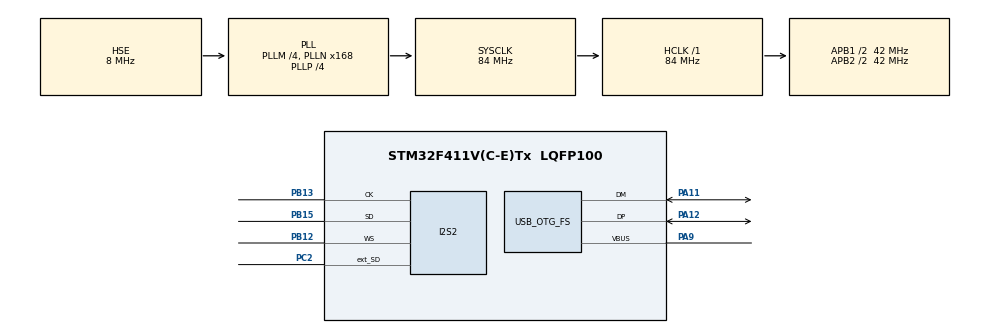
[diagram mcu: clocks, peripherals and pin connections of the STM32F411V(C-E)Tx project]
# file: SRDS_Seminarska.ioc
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Dma.Request0=SPI2_RX
Dma.SPI2_RX.0.Direction=DMA_PERIPH_TO_MEMORY
Dma.SPI2_RX.0.FIFOMode=DMA_FIFOMODE_DISABLE
Dma.SPI2_RX.0.Instance=DMA1_Stream3
Dma.SPI2_RX.0.MemDataAlignment=DMA_MDATAALIGN_HALFWORD
Dma.SPI2_RX.0.MemInc=DMA_MINC_ENABLE
Dma.SPI2_RX.0.Mode=DMA_CIRCULAR
Dma.SPI2_RX.0.PeriphDataAlignment=DMA_PDATAALIGN_HALFWORD
Dma.SPI2_RX.0.PeriphInc=DMA_PINC_DISABLE
Dma.SPI2_RX.0.Priority=DMA_PRIORITY_LOW
I2S2.AudioFreq=I2S_AUDIOFREQ_16K
I2S2.ErrorAudioFreq=0.0 %
I2S2.FullDuplexMode=I2S_FULLDUPLEXMODE_ENABLE
I2S2.Instance=SPI$Index
I2S2.Mode=I2S_MODE_MASTER_RX
I2S2.RealAudioFreq=16.0 KHz
I2S2.Standard=I2S_STANDARD_MSB
I2S2.VirtualMode=I2S_MODE_MASTER
Mcu.Family=STM32F4
Mcu.Name=STM32F411V(C-E)Tx
Mcu.Package=LQFP100
NVIC.DMA1_Stream3_IRQn=true\:0\:0\:false\:false\:true\:false\:true
NVIC.OTG_FS_IRQn=true\:0\:0\:false\:false\:true\:false\:true
NVIC.PriorityGroup=NVIC_PRIORITYGROUP_0
PA10.Signal=USB_OTG_FS_ID
PA11.Mode=Device_Only
PA11.Signal=USB_OTG_FS_DM
PA12.Mode=Device_Only
PA12.Signal=USB_OTG_FS_DP
PA13.Mode=Serial_Wire
PA13.Signal=SYS_JTMS-SWDIO
PA14.Mode=Serial_Wire
PA14.Signal=SYS_JTCK-SWCLK
PA9.Mode=Activate_VBUS
PA9.Signal=USB_OTG_FS_VBUS
PB12.Mode=Full_Duplex_Master
PB12.Signal=I2S2_WS
PB13.Mode=Full_Duplex_Master
PB13.Signal=I2S2_CK
PB15.Mode=Full_Duplex_Master
PB15.Signal=I2S2_SD
PC2.Mode=Full_Duplex_Master
PC2.Signal=I2S2_ext_SD
PDM2PCM.CHANNEL1_bit_order=PDM_FILTER_BIT_ORDER_MSB
PDM2PCM.CHANNEL1_in_ptr_channels=1
PDM2PCM.CHANNEL1_mic_gain=1
PDM2PCM.CHANNEL1_out_ptr_channels=1
PH0\ -\ OSC_IN.Mode=HSE-External-Oscillator
PH0\ -\ OSC_IN.Signal=RCC_OSC_IN
PH1\ -\ OSC_OUT.Mode=HSE-External-Oscillator
PH1\ -\ OSC_OUT.Signal=RCC_OSC_OUT
ProjectManager.HeapSize=0x200
ProjectManager.StackSize=0x400
ProjectManager.TargetToolchain=STM32CubeIDE
RCC.48MHZClocksFreq_Value=48000000
RCC.AHBFreq_Value=84000000
RCC.APB1CLKDivider=RCC_HCLK_DIV2
RCC.APB1Freq_Value=42000000
RCC.APB1TimFreq_Value=84000000
RCC.APB2CLKDivider=RCC_HCLK_DIV2
RCC.APB2Freq_Value=42000000
RCC.APB2TimFreq_Value=84000000
RCC.CortexFreq_Value=84000000
RCC.HCLKFreq_Value=84000000
RCC.HSE_VALUE=8000000
RCC.HSI_VALUE=16000000
RCC.LSE_VALUE=32768
RCC.PLLI2SM=5
RCC.PLLI2SR=5
RCC.PLLM=4
RCC.PLLN=168
RCC.PLLP=RCC_PLLP_DIV4
RCC.PLLQ=7
RCC.SYSCLKFreq_VALUE=84000000
RCC.SYSCLKSource=RCC_SYSCLKSOURCE_PLLCLK
RCC.VCOOutputFreq_Value=336000000
USB_DEVICE.CLASS_NAME_FS=CDC
USB_DEVICE.PRODUCT_STRING_CDC_FS=ProsimDelaj
USB_DEVICE.VirtualMode=Cdc
USB_DEVICE.VirtualModeFS=Cdc_FS
USB_OTG_FS.VirtualMode=Device_Only
VP_CRC_VS_CRC.Mode=CRC_Activate
VP_PDM2PCM_VS_PDM2PCM.Mode=PDM2PCM_Channel
VP_USB_DEVICE_VS_USB_DEVICE_CDC_FS.Mode=CDC_FS
board=STM32F411E-DISCO

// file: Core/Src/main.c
/* USER CODE BEGIN Header */
/**
  ******************************************************************************
  * @file           : main.c
  * @brief          : Main program body
  ******************************************************************************
  * @attention
  *
  * <h2><center>&copy; Copyright (c) 2021 STMicroelectronics.
  * All rights reserved.</center></h2>
  *
  * This software component is licensed by ST under BSD 3-Clause license,
  * the "License"; You may not use this file except in compliance with the
  * License. You may obtain a copy of the License at:
  *                        opensource.org/licenses/BSD-3-Clause
  *
  ******************************************************************************
  */
/* USER CODE END Header */
#include "main.h"
#include "pdm2pcm.h"
#include "usb_device.h"

/* USER CODE BEGIN Includes */
#include "usbd_cdc_if.h"
#include <math.h>
/* USER CODE END Includes */

/* USER CODE BEGIN PD */
#define PDM_BUFFER_SIZE 100
#define PCM_BUFFER_SIZE 16
#define M_PI   3.14159265358979323846 /* pi */
/* USER CODE END PD */

CRC_HandleTypeDef hcrc;

I2S_HandleTypeDef hi2s2;
DMA_HandleTypeDef hdma_spi2_rx;

void SystemClock_Config(void);
static void MX_GPIO_Init(void);
static void MX_DMA_Init(void);
static void MX_I2S2_Init(void);
static void MX_CRC_Init(void);
/* USER CODE BEGIN PFP */

float absFloat(float floa) {
	return floa < 0 ? -floa : floa;
}
/* USER CODE END PFP */

/* USER CODE BEGIN 0 */
/* USER CODE BEGIN PFP */

/* USER CODE END PFP */

/* Private user code ---------------------------------------------------------*/
/* USER CODE BEGIN 0 */

/* USER CODE END 0 */

int main(void)
{

  /* MCU Configuration--------------------------------------------------------*/

  /* Reset of all peripherals, Initializes the Flash interface and the Systick. */
  HAL_Init();

  /* USER CODE BEGIN Init */
  uint16_t sound_in[1600];
int binary[1600],temp[1600];
int buf[1600];
int vol = 0,sum = 0;
char buffer[100];
  /* USER CODE END Init */

  /* Configure the system clock */
  SystemClock_Config();

  /* Initialize all configured peripherals */
  MX_GPIO_Init();
  MX_DMA_Init();
  MX_I2S2_Init();
  MX_CRC_Init();
  MX_PDM2PCM_Init();
  MX_USB_DEVICE_Init();
  /* USER CODE BEGIN 2 */
  __HAL_RCC_CRC_CLK_ENABLE();
  //teoreticno 16 PDM -> 1 PCM 16* 16 ali 32 odvisno od filtra
  uint16_t PDM_Signal[PDM_BUFFER_SIZE];
  //16 je povezana z številko saamples pri pdm2pcm
  uint16_t PCM_Signal[PCM_BUFFER_SIZE];

  uint8_t json[200];
  int stevec = 0;
  //HAL_I2S_Receive_DMA(&hi2s2, &PDM_Signal, PDM_BUFFER_SIZE);
  /* USER CODE END 2 */

  /* Infinite loop */
	while (1)
	{

    /* USER CODE BEGIN 3 */

		  int vol=0;
		  	  HAL_I2S_Receive(&hi2s2,sound_in, 50, 1000);

		  	  for (int i = 0; i < 50; i++) {
		  		for (int j = 0; j < 16; j++) {
		  			binary[j] = sound_in[i] % 2;
		  			sound_in[i] = sound_in[i]/2;
		  		}

		  		//reverse
		  		for (int j = 0; j < 16; j++) {
		  			temp[i * 16 + j] = binary[15 - j];
		  		}
		  	  }
		  	  int i =7;
		  	  while(i + 8 < 50*16){
		  	     int sum = 0;
		  	     for (int j = -7; j <= 8; j++)
		  	      sum += temp[i + j];
		  	     if(sum - 8 < 0)  buf[i]=-(sum-8);
		  	     buf[i] = sum-8;
		  	     i++;
		  	  }

		  	for (int i = 14; i + 16 < 50*16; i++) {
		  		for (int j = -7; j <= 8; j++)
		  			vol += buf[i + j];
		}

		//int nac = sprintf(buffer,"vol: \r\n",vol);
		//HAL_Delay(500);
		//Size = dolizni PDM_Signala
		//HAL_I2S_Receive(&hi2s2, PDM_Signal, PDM_BUFFER_SIZE, 10);

		//PDM_Filter(&PDM_Signal[0], &PCM_Signal[0], &PDM1_filter_handler);

		//memset(json, 0, sizeof(json));

		/*sprintf(json, "%d %d %d %d %d %d %d %d %d %d %d %d %d %d %d %d\n\r", PCM_Signal[0], PCM_Signal[1],PCM_Signal[2],
				PCM_Signal[3], PCM_Signal[4], PCM_Signal[5],
				PCM_Signal[6], PCM_Signal[7], PCM_Signal[8],
				PCM_Signal[9], PCM_Signal[10], PCM_Signal[11],
				PCM_Signal[12], PCM_Signal[13], PCM_Signal[14],  PCM_Signal[15]);
*/
		//while(CDC_Transmit_FS((uint8_t*)&buffer, nac));

		sprintf(json, "{\"MAG\":%d, \"X\":%.3f, \"Y\":%.3f, \"Z\":%.3f}\n\r", 1,1,1,1);
		while(CDC_Transmit_FS((uint8_t*)&json, 55));
		//PDM_Filter poglej si!

		//PCM -> .wav preko c#

	}
  /* USER CODE END 3 */
}

void SystemClock_Config(void)
{
  RCC_OscInitTypeDef RCC_OscInitStruct = {0};
  RCC_ClkInitTypeDef RCC_ClkInitStruct = {0};
  RCC_PeriphCLKInitTypeDef PeriphClkInitStruct = {0};

  /** Configure the main internal regulator output voltage
  */
  __HAL_RCC_PWR_CLK_ENABLE();
  __HAL_PWR_VOLTAGESCALING_CONFIG(PWR_REGULATOR_VOLTAGE_SCALE1);
  /** Initializes the RCC Oscillators according to the specified parameters
  * in the RCC_OscInitTypeDef structure.
  */
  RCC_OscInitStruct.OscillatorType = RCC_OSCILLATORTYPE_HSE;
  RCC_OscInitStruct.HSEState = RCC_HSE_ON;
  RCC_OscInitStruct.PLL.PLLState = RCC_PLL_ON;
  RCC_OscInitStruct.PLL.PLLSource = RCC_PLLSOURCE_HSE;
  RCC_OscInitStruct.PLL.PLLM = 4;
  RCC_OscInitStruct.PLL.PLLN = 168;
  RCC_OscInitStruct.PLL.PLLP = RCC_PLLP_DIV4;
  RCC_OscInitStruct.PLL.PLLQ = 7;
  if (HAL_RCC_OscConfig(&RCC_OscInitStruct) != HAL_OK)
  {
    Error_Handler();
  }
  /** Initializes the CPU, AHB and APB buses clocks
  */
  RCC_ClkInitStruct.ClockType = RCC_CLOCKTYPE_HCLK|RCC_CLOCKTYPE_SYSCLK
                              |RCC_CLOCKTYPE_PCLK1|RCC_CLOCKTYPE_PCLK2;
  RCC_ClkInitStruct.SYSCLKSource = RCC_SYSCLKSOURCE_PLLCLK;
  RCC_ClkInitStruct.AHBCLKDivider = RCC_SYSCLK_DIV1;
  RCC_ClkInitStruct.APB1CLKDivider = RCC_HCLK_DIV2;
  RCC_ClkInitStruct.APB2CLKDivider = RCC_HCLK_DIV2;

  if (HAL_RCC_ClockConfig(&RCC_ClkInitStruct, FLASH_LATENCY_2) != HAL_OK)
  {
    Error_Handler();
  }
  PeriphClkInitStruct.PeriphClockSelection = RCC_PERIPHCLK_I2S;
  PeriphClkInitStruct.PLLI2S.PLLI2SN = 192;
  PeriphClkInitStruct.PLLI2S.PLLI2SM = 5;
  PeriphClkInitStruct.PLLI2S.PLLI2SR = 5;
  if (HAL_RCCEx_PeriphCLKConfig(&PeriphClkInitStruct) != HAL_OK)
  {
    Error_Handler();
  }
}

static void MX_CRC_Init(void)
{

  hcrc.Instance = CRC;
  if (HAL_CRC_Init(&hcrc) != HAL_OK)
  {
    Error_Handler();
  }
  __HAL_CRC_DR_RESET(&hcrc);

}

static void MX_I2S2_Init(void)
{

  hi2s2.Instance = SPI2;
  hi2s2.Init.Mode = I2S_MODE_MASTER_RX;
  hi2s2.Init.Standard = I2S_STANDARD_MSB;
  hi2s2.Init.DataFormat = I2S_DATAFORMAT_16B;
  hi2s2.Init.MCLKOutput = I2S_MCLKOUTPUT_DISABLE;
  hi2s2.Init.AudioFreq = I2S_AUDIOFREQ_16K;
  hi2s2.Init.CPOL = I2S_CPOL_LOW;
  hi2s2.Init.ClockSource = I2S_CLOCK_PLL;
  hi2s2.Init.FullDuplexMode = I2S_FULLDUPLEXMODE_ENABLE;
  if (HAL_I2S_Init(&hi2s2) != HAL_OK)
  {
    Error_Handler();
  }

}

static void MX_DMA_Init(void)
{

  /* DMA controller clock enable */
  __HAL_RCC_DMA1_CLK_ENABLE();

  /* DMA interrupt init */
  /* DMA1_Stream3_IRQn interrupt configuration */
  HAL_NVIC_SetPriority(DMA1_Stream3_IRQn, 0, 0);
  HAL_NVIC_EnableIRQ(DMA1_Stream3_IRQn);

}

static void MX_GPIO_Init(void)
{

  /* GPIO Ports Clock Enable */
  __HAL_RCC_GPIOH_CLK_ENABLE();
  __HAL_RCC_GPIOC_CLK_ENABLE();
  __HAL_RCC_GPIOB_CLK_ENABLE();
  __HAL_RCC_GPIOA_CLK_ENABLE();

}

void Error_Handler(void)
{
}

/************************ (C) COPYRIGHT STMicroelectronics *****END OF FILE****/
